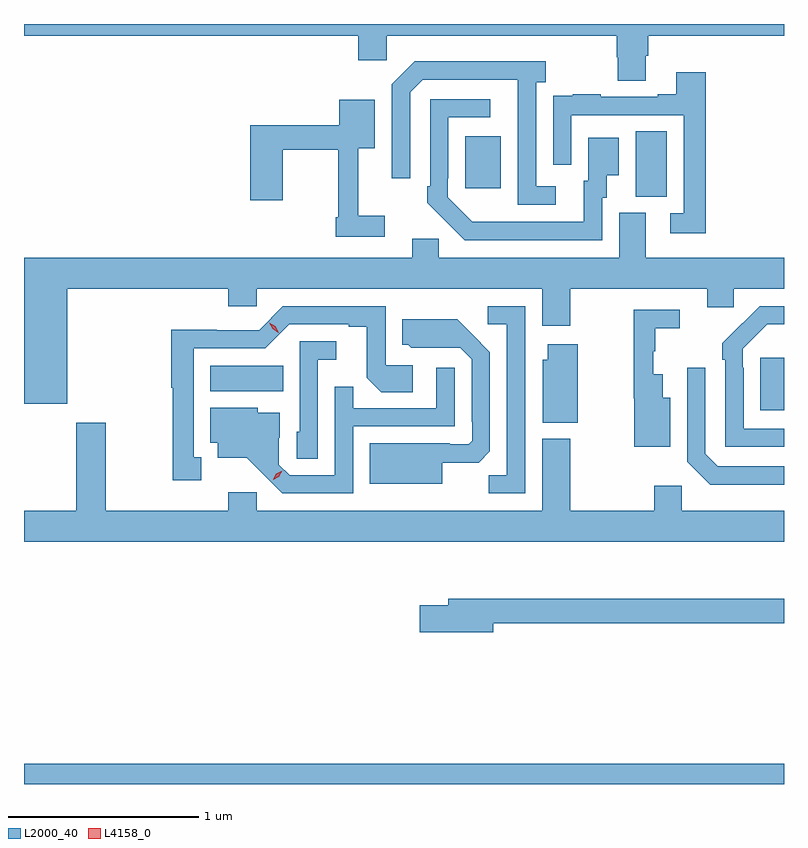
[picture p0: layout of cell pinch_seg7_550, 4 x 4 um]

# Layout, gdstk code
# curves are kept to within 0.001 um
import gdstk
lib = gdstk.Library(unit=1e-6, precision=1e-09)
def R(c, l, rs):  # rectangles x0, y0, x1, y1
    for r in rs: c.add(gdstk.rectangle(r[:2], r[2:], *l))
def P(c, l, *ps):  # polygons
    for p in ps: c.add(gdstk.Polygon(p, *l))
L2000_40 = (2000, 40)
L4158_0 = (4158, 0)

pinch_seg7_550 = lib.new_cell('pinch_seg7_550')
R(pinch_seg7_550, L2000_40, [(135.281,1051.289,139.281,1051.396), (139.157,1053.257,139.281,1053.532), (136.262,1053.356,136.646,1053.49), (138.5,1054.381,138.664,1054.724), (137.603,1054.425,137.791,1054.699)])
P(pinch_seg7_550, L2000_40, [(138.553,1055.122),(138.566,1055.122),(138.566,1055.228),(139.281,1055.228),(139.281,1055.289),(135.281,1055.289),(135.281,1055.228),(137.039,1055.228),(137.039,1055.097),(137.19,1055.097),(137.19,1055.228),(138.401,1055.228),(138.401,1055.115),(138.406,1055.115),(138.406,1054.99),(138.553,1054.99)],
  [(138.079,1054.434),(137.976,1054.434),(137.976,1054.982),(138.028,1054.982),(138.028,1055.092),(137.338,1055.092),(137.217,1054.971),(137.217,1054.476),(137.313,1054.476),(137.313,1054.929),(137.379,1054.995),(137.879,1054.995),(137.88,1054.338),(138.079,1054.338)],
  [(138.869,1055.035),(138.713,1055.035),(138.713,1054.918),(138.617,1054.918),(138.617,1054.905),(138.317,1054.905),(138.317,1054.918),(138.169,1054.918),(138.169,1054.911),(138.067,1054.911),(138.067,1054.802),(138.066,1054.802),(138.066,1054.548),(138.162,1054.548),(138.162,1054.809),(138.753,1054.809),(138.753,1054.293),(138.681,1054.293),(138.681,1054.188),(138.869,1054.188)],
  [(138.324,1054.374),(138.349,1054.374),(138.349,1054.493),(138.412,1054.493),(138.412,1054.69),(138.251,1054.69),(138.251,1054.464),(138.227,1054.464),(138.227,1054.248),(137.64,1054.249),(137.511,1054.377),(137.511,1054.477),(137.514,1054.477),(137.514,1054.797),(137.734,1054.797),(137.734,1054.893),(137.418,1054.893),(137.418,1054.435),(137.403,1054.435),(137.403,1054.347),(137.6,1054.152),(138.324,1054.152)],
  [(137.179,1054.279),(137.039,1054.279),(137.039,1054.634),(137.128,1054.634),(137.128,1054.891),(136.94,1054.891),(136.94,1054.756),(136.472,1054.756),(136.472,1054.362),(136.642,1054.362),(136.642,1054.627),(136.936,1054.627),(136.936,1054.273),(136.921,1054.273),(136.921,1054.17),(137.179,1054.17)],
  [(135.508,1053.896),(136.355,1053.896),(136.355,1053.803),(136.506,1053.803),(136.506,1053.896),(138.008,1053.896),(138.008,1053.702),(138.156,1053.702),(138.156,1053.896),(138.878,1053.896),(138.878,1053.798),(139.017,1053.798),(139.017,1053.896),(139.281,1053.896),(139.281,1054.06),(138.553,1054.06),(138.553,1054.296),(138.413,1054.296),(138.413,1054.06),(137.463,1054.06),(137.463,1054.158),(137.324,1054.158),(137.324,1054.06),(135.281,1054.06),(135.281,1053.29),(135.508,1053.29)],
  [(139.281,1053.159),(139.068,1053.159),(139.068,1053.479),(139.065,1053.479),(139.065,1053.579),(139.194,1053.708),(139.281,1053.708),(139.281,1053.804),(139.154,1053.804),(138.957,1053.609),(138.957,1053.521),(138.972,1053.521),(138.972,1053.063),(139.281,1053.063)],
  [(136.213,1053.009),(136.174,1053.009),(136.174,1053.582),(136.551,1053.582),(136.677,1053.708),(136.991,1053.708),(136.991,1053.696),(137.085,1053.696),(137.085,1053.428),(137.161,1053.352),(137.326,1053.352),(137.326,1053.492),(137.184,1053.492),(137.184,1053.804),(136.644,1053.804),(136.518,1053.678),(136.296,1053.678),(136.296,1053.68),(136.056,1053.68),(136.056,1053.375),(136.063,1053.375),(136.063,1052.889),(136.213,1052.889)],
  [(137.919,1053.804),(137.721,1053.804),(137.721,1053.708),(137.823,1053.708),(137.823,1052.915),(137.728,1052.915),(137.728,1052.82),(137.919,1052.82)],
  [(138.682,1053.322),(138.643,1053.322),(138.643,1053.445),(138.593,1053.445),(138.593,1053.567),(138.604,1053.567),(138.604,1053.688),(138.733,1053.688),(138.733,1053.786),(138.49,1053.786),(138.49,1053.318),(138.494,1053.318),(138.494,1053.065),(138.682,1053.065)],
  [(137.482,1052.981),(137.674,1052.981),(137.733,1053.04),(137.733,1053.562),(137.561,1053.736),(137.273,1053.736),(137.273,1053.6),(137.304,1053.6),(137.32,1053.584),(137.577,1053.585),(137.637,1053.525),(137.637,1053.196),(137.64,1053.196),(137.64,1053.096),(137.622,1053.078),(137.522,1053.078),(137.522,1053.082),(137.102,1053.082),(137.102,1052.87),(137.482,1052.87)],
  [(136.827,1053.521),(136.924,1053.521),(136.924,1053.618),(136.731,1053.618),(136.731,1053.144),(136.716,1053.144),(136.716,1053.001),(136.827,1053.001)],
  [(138.196,1053.604),(138.038,1053.604),(138.038,1053.522),(138.011,1053.522),(138.011,1053.191),(138.196,1053.191)],
  [(137.013,1053.171),(137.547,1053.171),(137.547,1053.481),(137.451,1053.481),(137.451,1053.267),(137.015,1053.267),(137.015,1053.38),(136.917,1053.38),(136.917,1052.913),(136.68,1052.913),(136.623,1052.97),(136.623,1053.112),(136.627,1053.112),(136.627,1053.244),(136.512,1053.244),(136.512,1053.268),(136.262,1053.268),(136.262,1053.086),(136.301,1053.086),(136.301,1053.005),(136.453,1053.005),(136.64,1052.82),(137.013,1052.82)],
  [(139.281,1052.961),(138.933,1052.961),(138.867,1053.027),(138.867,1053.481),(138.771,1053.481),(138.771,1052.985),(138.892,1052.864),(139.281,1052.864)],
  [(139.281,1052.728),(138.744,1052.728),(138.744,1052.86),(138.598,1052.86),(138.598,1052.728),(138.156,1052.728),(138.156,1053.106),(138.008,1053.106),(138.008,1052.728),(136.506,1052.728),(136.506,1052.824),(136.355,1052.824),(136.355,1052.728),(135.711,1052.728),(135.711,1053.19),(135.556,1053.19),(135.556,1052.728),(135.281,1052.728),(135.281,1052.564),(139.281,1052.564)],
  [(137.752,1052.134),(139.281,1052.134),(139.281,1052.263),(137.513,1052.263),(137.513,1052.229),(137.364,1052.229),(137.364,1052.087),(137.752,1052.087)])
P(pinch_seg7_550, L4158_0, [(136.592,1052.891),(136.592,1052.892),(136.609,1052.921),(136.639,1052.937),(136.639,1052.937),(136.639,1052.937),(136.623,1052.907),(136.592,1052.891)],
  [(136.62,1053.665),(136.589,1053.684),(136.571,1053.717),(136.571,1053.717),(136.572,1053.717),(136.603,1053.698),(136.621,1053.665),(136.621,1053.665)])

lib.write_gds('pinch_seg7_550.gds')
